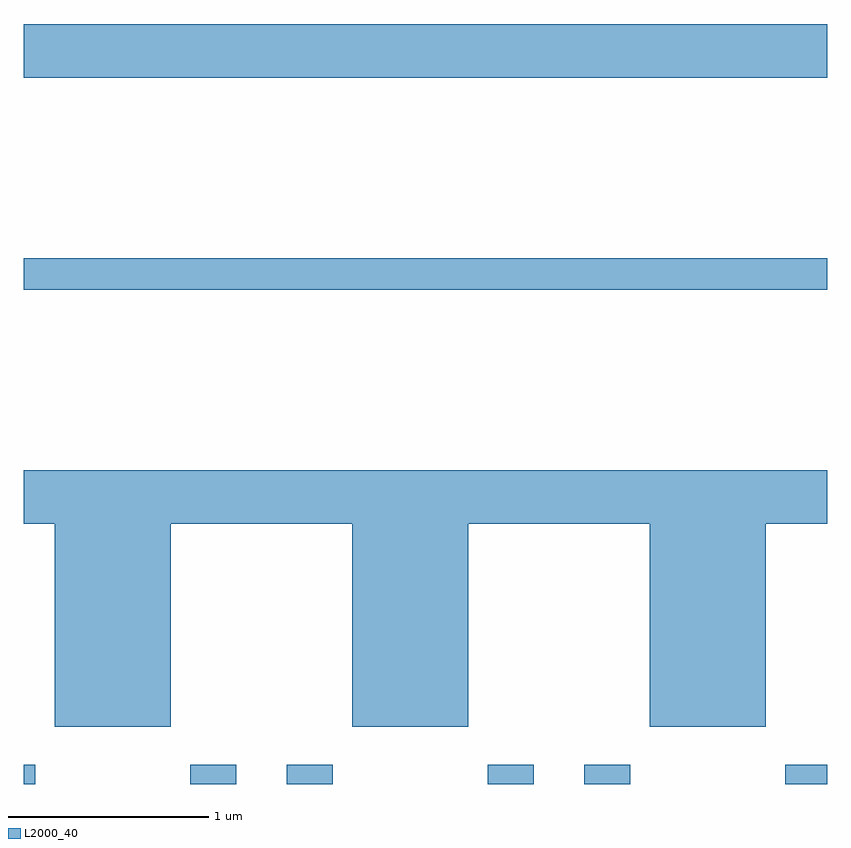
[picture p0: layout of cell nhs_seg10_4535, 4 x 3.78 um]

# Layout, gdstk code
import gdstk
lib = gdstk.Library(unit=1e-6, precision=1e-09)
def R(c, l, rs):  # rectangles x0, y0, x1, y1
    for r in rs: c.add(gdstk.rectangle(r[:2], r[2:], *l))
def P(c, l, *ps):  # polygons
    for p in ps: c.add(gdstk.Polygon(p, *l))
L2000_40 = (2000, 40)

nhs_seg10_4535 = lib.new_cell('nhs_seg10_4535')
R(nhs_seg10_4535, L2000_40, [(317.611,2212.522,317.669,2212.619), (318.441,2212.522,318.669,2212.619), (318.921,2212.522,319.149,2212.619), (319.921,2212.522,320.149,2212.619), (320.401,2212.522,320.629,2212.619), (321.401,2212.522,321.611,2212.619), (317.611,2214.981,321.611,2215.139), (317.611,2216.036,321.611,2216.304)])
P(nhs_seg10_4535, L2000_40, [(318.344,2213.816),(319.246,2213.816),(319.246,2212.806),(319.824,2212.806),(319.824,2213.816),(320.726,2213.816),(320.726,2212.806),(321.304,2212.806),(321.304,2213.816),(321.611,2213.816),(321.611,2214.084),(317.611,2214.084),(317.611,2213.816),(317.766,2213.816),(317.766,2212.806),(318.344,2212.806)])

lib.write_gds('nhs_seg10_4535.gds')
